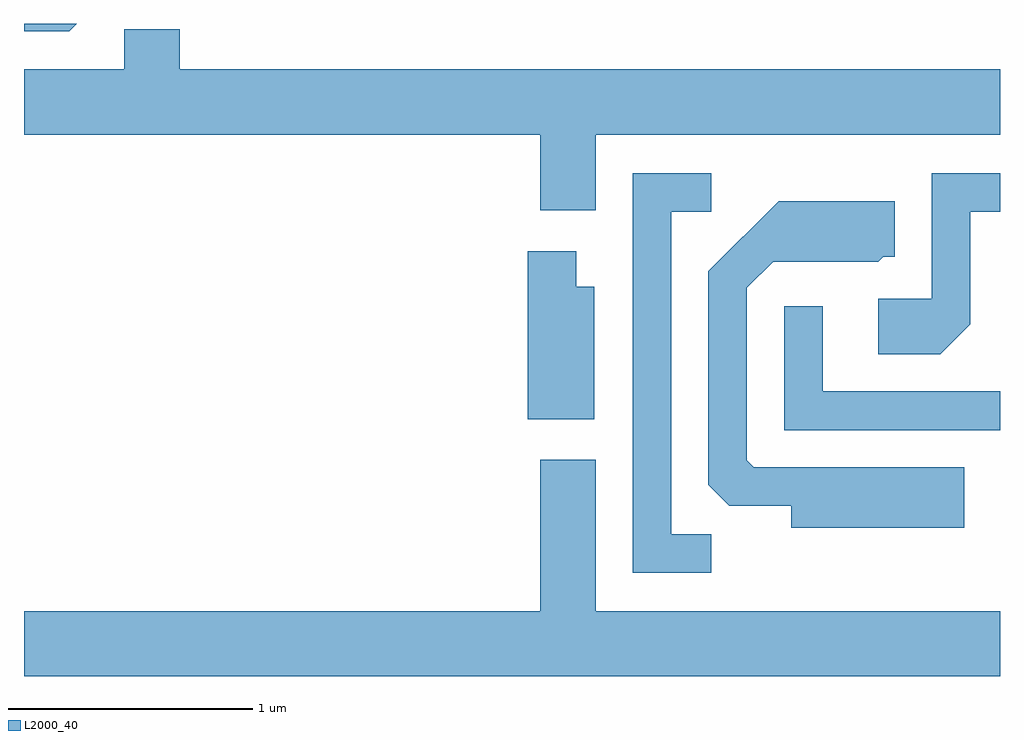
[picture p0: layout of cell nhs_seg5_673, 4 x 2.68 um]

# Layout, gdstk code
import gdstk
lib = gdstk.Library(unit=1e-6, precision=1e-09)
def P(c, l, *ps):  # polygons
    for p in ps: c.add(gdstk.Polygon(p, *l))
L2000_40 = (2000, 40)

nhs_seg5_673 = lib.new_cell('nhs_seg5_673')
P(nhs_seg5_673, L2000_40, [(203.828,1526.072),(203.611,1526.072),(203.611,1526.041),(203.797,1526.041)],
  [(205.954,1525.616),(207.611,1525.616),(207.611,1525.884),(204.249,1525.884),(204.249,1526.049),(204.021,1526.049),(204.021,1525.884),(203.611,1525.884),(203.611,1525.616),(205.726,1525.616),(205.726,1525.306),(205.954,1525.306)],
  [(207.489,1524.839),(207.489,1525.301),(207.611,1525.301),(207.611,1525.459),(207.331,1525.459),(207.331,1524.944),(207.111,1524.944),(207.111,1524.716),(207.367,1524.716)],
  [(206.428,1523.979),(206.264,1523.979),(206.264,1525.301),(206.428,1525.301),(206.428,1525.459),(206.106,1525.459),(206.106,1523.821),(206.428,1523.821)],
  [(207.464,1524.254),(206.602,1524.254),(206.574,1524.282),(206.574,1524.989),(206.682,1525.096),(207.112,1525.096),(207.132,1525.116),(207.179,1525.116),(207.179,1525.344),(206.704,1525.344),(206.416,1525.057),(206.416,1524.182),(206.502,1524.096),(206.756,1524.096),(206.756,1524.006),(207.464,1524.006)],
  [(205.949,1524.994),(205.874,1524.994),(205.874,1525.139),(205.676,1525.139),(205.676,1524.451),(205.949,1524.451)],
  [(207.611,1524.564),(206.884,1524.564),(206.884,1524.913),(206.726,1524.913),(206.726,1524.406),(207.611,1524.406)],
  [(207.611,1523.664),(205.954,1523.664),(205.954,1524.284),(205.726,1524.284),(205.726,1523.664),(203.611,1523.664),(203.611,1523.396),(207.611,1523.396)])

lib.write_gds('nhs_seg5_673.gds')
